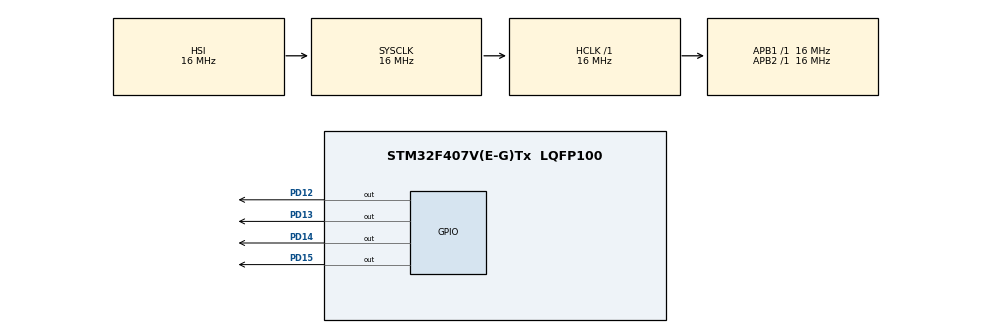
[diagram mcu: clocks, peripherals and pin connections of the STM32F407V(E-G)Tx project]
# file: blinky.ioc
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Mcu.Family=STM32F4
Mcu.Name=STM32F407V(E-G)Tx
Mcu.Package=LQFP100
NVIC.PriorityGroup=NVIC_PRIORITYGROUP_4
PD12.Signal=GPIO_Output
PD13.Signal=GPIO_Output
PD14.Signal=GPIO_Output
PD15.Signal=GPIO_Output
ProjectManager.HeapSize=0x200
ProjectManager.StackSize=0x400
ProjectManager.TargetToolchain=STM32CubeIDE
RCC.AHBFreq_Value=16000000
RCC.APB1Freq_Value=16000000
RCC.APB2Freq_Value=16000000
RCC.CortexFreq_Value=16000000
RCC.HSE_VALUE=25000000
RCC.HSI_VALUE=16000000
RCC.LSE_VALUE=32768
RCC.SYSCLKFreq_VALUE=16000000
RCC.VCOOutputFreq_Value=192000000
board=custom

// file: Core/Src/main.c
/* USER CODE BEGIN Header */
/**
  ******************************************************************************
  * @file           : main.c
  * @brief          : Main program body
  ******************************************************************************
  * @attention
  *
  * Copyright (c) 2023 STMicroelectronics.
  * All rights reserved.
  *
  * This software is licensed under terms that can be found in the LICENSE file
  * in the root directory of this software component.
  * If no LICENSE file comes with this software, it is provided AS-IS.
  *
  ******************************************************************************
  */
/* USER CODE END Header */
#include "main.h"

void SystemClock_Config(void);
static void MX_GPIO_Init(void);

int main(void)
{

  /* MCU Configuration--------------------------------------------------------*/

  /* Reset of all peripherals, Initializes the Flash interface and the Systick. */
  HAL_Init();

  /* Configure the system clock */
  SystemClock_Config();

  /* Initialize all configured peripherals */
  MX_GPIO_Init();

  /* Infinite loop */
  /* USER CODE BEGIN WHILE */
  while (1)
  {
	  HAL_GPIO_TogglePin(GPIOD, GPIO_PIN_14);
	  HAL_Delay(50);
	  HAL_GPIO_TogglePin(GPIOD, GPIO_PIN_14);
	  HAL_Delay(250);
	  HAL_GPIO_TogglePin(GPIOD, GPIO_PIN_13);
	  HAL_Delay(50);
	  HAL_GPIO_TogglePin(GPIOD, GPIO_PIN_13);
	  HAL_Delay(250);
	  HAL_GPIO_TogglePin(GPIOD, GPIO_PIN_14);
	  HAL_Delay(50);
	  HAL_GPIO_TogglePin(GPIOD, GPIO_PIN_14);
	  HAL_Delay(250);
	  HAL_GPIO_TogglePin(GPIOD, GPIO_PIN_13);
	  HAL_Delay(50);
	  HAL_GPIO_TogglePin(GPIOD, GPIO_PIN_13);
	  HAL_GPIO_TogglePin(GPIOD, GPIO_PIN_15);
	  HAL_Delay(250);
	  HAL_GPIO_TogglePin(GPIOD, GPIO_PIN_12);
	  HAL_GPIO_TogglePin(GPIOD, GPIO_PIN_15);
	  HAL_Delay(100);
	  HAL_GPIO_TogglePin(GPIOD, GPIO_PIN_12);
	  HAL_GPIO_TogglePin(GPIOD, GPIO_PIN_15);
	  HAL_Delay(100);
	  HAL_GPIO_TogglePin(GPIOD, GPIO_PIN_12);
	  HAL_GPIO_TogglePin(GPIOD, GPIO_PIN_15);
	  HAL_Delay(100);
	  HAL_GPIO_TogglePin(GPIOD, GPIO_PIN_12);
	  HAL_GPIO_TogglePin(GPIOD, GPIO_PIN_15);
	  HAL_Delay(100);
	  HAL_GPIO_TogglePin(GPIOD, GPIO_PIN_12);
	  HAL_GPIO_TogglePin(GPIOD, GPIO_PIN_15);
	  HAL_Delay(100);
	  HAL_GPIO_TogglePin(GPIOD, GPIO_PIN_12);
	  HAL_GPIO_TogglePin(GPIOD, GPIO_PIN_15);
	  HAL_Delay(1000);

    /* USER CODE END WHILE */

  }
}

void SystemClock_Config(void)
{
  RCC_OscInitTypeDef RCC_OscInitStruct = {0};
  RCC_ClkInitTypeDef RCC_ClkInitStruct = {0};

  /** Configure the main internal regulator output voltage
  */
  __HAL_RCC_PWR_CLK_ENABLE();
  __HAL_PWR_VOLTAGESCALING_CONFIG(PWR_REGULATOR_VOLTAGE_SCALE1);

  /** Initializes the RCC Oscillators according to the specified parameters
  * in the RCC_OscInitTypeDef structure.
  */
  RCC_OscInitStruct.OscillatorType = RCC_OSCILLATORTYPE_HSI;
  RCC_OscInitStruct.HSIState = RCC_HSI_ON;
  RCC_OscInitStruct.HSICalibrationValue = RCC_HSICALIBRATION_DEFAULT;
  RCC_OscInitStruct.PLL.PLLState = RCC_PLL_NONE;
  if (HAL_RCC_OscConfig(&RCC_OscInitStruct) != HAL_OK)
  {
    Error_Handler();
  }

  /** Initializes the CPU, AHB and APB buses clocks
  */
  RCC_ClkInitStruct.ClockType = RCC_CLOCKTYPE_HCLK|RCC_CLOCKTYPE_SYSCLK
                              |RCC_CLOCKTYPE_PCLK1|RCC_CLOCKTYPE_PCLK2;
  RCC_ClkInitStruct.SYSCLKSource = RCC_SYSCLKSOURCE_HSI;
  RCC_ClkInitStruct.AHBCLKDivider = RCC_SYSCLK_DIV1;
  RCC_ClkInitStruct.APB1CLKDivider = RCC_HCLK_DIV1;
  RCC_ClkInitStruct.APB2CLKDivider = RCC_HCLK_DIV1;

  if (HAL_RCC_ClockConfig(&RCC_ClkInitStruct, FLASH_LATENCY_0) != HAL_OK)
  {
    Error_Handler();
  }
}

static void MX_GPIO_Init(void)
{
  GPIO_InitTypeDef GPIO_InitStruct = {0};

  /* GPIO Ports Clock Enable */
  __HAL_RCC_GPIOD_CLK_ENABLE();

  /*Configure GPIO pin Output Level */
  HAL_GPIO_WritePin(GPIOD, GPIO_PIN_12|GPIO_PIN_13|GPIO_PIN_14|GPIO_PIN_15, GPIO_PIN_RESET);

  /*Configure GPIO pins : PD12 PD13 PD14 PD15 */
  GPIO_InitStruct.Pin = GPIO_PIN_12|GPIO_PIN_13|GPIO_PIN_14|GPIO_PIN_15;
  GPIO_InitStruct.Mode = GPIO_MODE_OUTPUT_PP;
  GPIO_InitStruct.Pull = GPIO_NOPULL;
  GPIO_InitStruct.Speed = GPIO_SPEED_FREQ_LOW;
  HAL_GPIO_Init(GPIOD, &GPIO_InitStruct);

}

void Error_Handler(void)
{
  __disable_irq();
  while (1)
  {
  }
}
